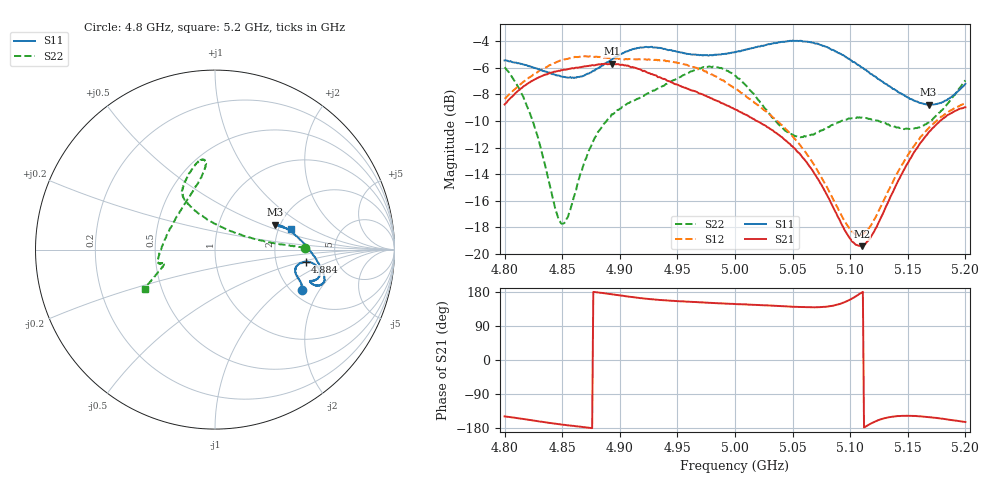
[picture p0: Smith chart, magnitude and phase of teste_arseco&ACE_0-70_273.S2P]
! Network Analyzer HP8722D
! Hewlett-Packard
! Data name: Linha & Wilkinson
! Saver's name: Rodrigo Anjos
! Comments: Teste da utilização de aquisição
! continua pelo VNA HP8722D
! Time and date: 8/5/2025 15:02
!  Frequency  S11  S21  S12  S22
# HZ  S  MA R 50
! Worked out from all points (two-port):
!   401 points, 4.8 GHz to 5.2 GHz, reference 50 ohm
!   highest |S21| = -5.68 dB at 4.893 GHz (marker M1); lowest = -19.4 dB at 5.11 GHz (marker M2)
!   |S21| within 3 dB of the highest: 4.801 GHz to 4.989 GHz (188.2 MHz wide, 3.84 % of centre)
!   lowest |S11| = -8.8 dB at 5.168 GHz (marker M3), VSWR 2.15, Z = 94.4 + j30.4 ohm
!   |S11| at or under -10 dB: nowhere
!   |S22| runs from -17.7 to -5.9 dB; largest |S21 - S12| = 1.1
!   S11 on the Smith chart (normalised r, x): 4.8 GHz: 2.25, -1.43; 4.884 GHz: 2.97, -0.54; 5.2 GHz: 2.33, +0.65
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4.8e9  0.5347 -25.2  0.365 -148.9  0.3835 10.4  0.5039 1.3
4.812e9  0.5222 -22.2  0.4115 -153.8  0.428 8.7  0.4232 2.7
4.823e9  0.5058 -20.3  0.4458 -158.7  0.4654 7.3  0.3283 6.3
4.848e9  0.4673 -16.1  0.4885 -169.6  0.5337 3.3  0.1324 54.8
4.855e9  0.4603 -14.2  0.4958 -172.5  0.5425 2.0  0.1375 85.3
4.867e9  0.4653 -11.2  0.5053 -176.5  0.5516 0.3  0.2053 112.0
4.884e9  0.5096 -7.7  0.5187 177.2  0.5482 -1.1  0.2981 120.8
4.893e9  0.5398 -7.7  0.5201 173.4  0.5457 -1.0  0.3356 121.4
4.913e9  0.5921 -11.1  0.5021 165.3  0.5399 -0.6  0.3786 118.6
4.934e9  0.596 -15.5  0.4624 158.5  0.537 -1.3  0.4217 112.7
4.974e9  0.5599 -18.6  0.3938 151.4  0.4856 -5.2  0.5023 99.3
5e9  0.5742 -19.3  0.3499 147.6  0.4198 -5.3  0.4694 96.7
5.018e9  0.5999 -19.3  0.3171 145.6  0.3678 -2.6  0.3908 103.2
5.044e9  0.63 -17.5  0.2671 141.7  0.2947 3.0  0.2897 131.2
5.067e9  0.6247 -13.3  0.2069 139.2  0.2219 9.5  0.2812 164.6
5.099e9  0.5424 -2.2  0.1154 157.9  0.1251 39.2  0.3234 -170.1
5.11e9  0.5032 2.9  0.1068 178.0  0.1178 61.3  0.3258 -167.2
5.119e9  0.4736 7.6  0.1178 -166.1  0.1299 78.5  0.3197 -166.0
5.134e9  0.4278 14.6  0.1601 -150.8  0.1753 94.9  0.3048 -165.8
5.168e9  0.3647 22.5  0.2863 -150.7  0.2971 102.4  0.3116 -161.1
5.183e9  0.3777 20.2  0.3285 -156.3  0.3371 102.5  0.3609 -156.7
5.2e9  0.4365 14.9  0.356 -163.6  0.3684 102.8  0.45 -150.6
